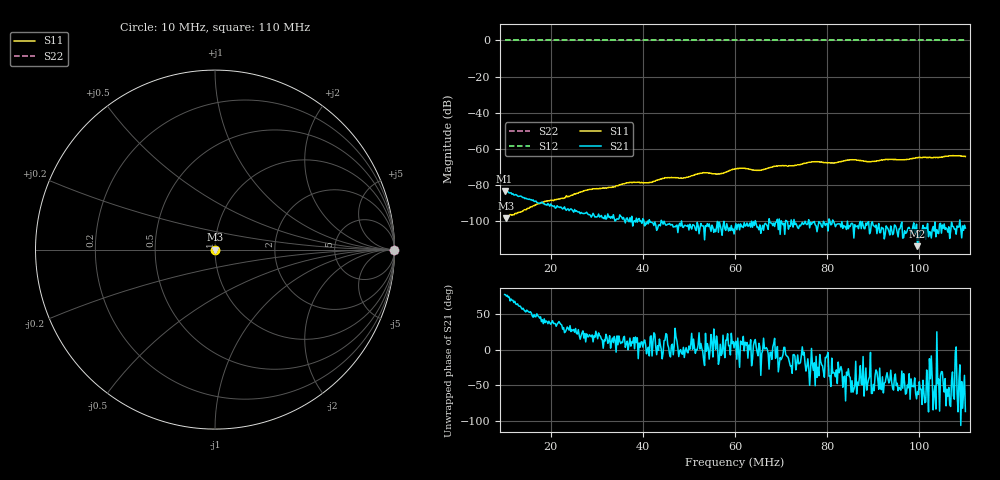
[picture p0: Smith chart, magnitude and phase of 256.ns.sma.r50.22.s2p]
! Anritsu VNA Master:  Model: MS2036C/10/77
! SN:  1601066
! /card0/usr/256.ns.sma.r50.22.s2p
! Existing Calibration Information:
! TYPE:  Current Settings,  Active Cal Settings
! TIME:  12/19/2017 03:53:15 PM,  12/19/2017 03:30:41 PM
! INTERNAL TEMP:  47.3 C,  48.0 C
! # POINTS:  501,  501
! START FREQ:  10.000 MHz,  10.000 MHz
! STOP FREQ:  110.000 MHz,  110.000 MHz
! SOURCE POWER:  High,  High
! IFBW:  100 Hz,  100 Hz
! AVG FACTOR:  1 ,  1
! REF PLANE 1:  0 mm,  0 mm
! REF PLANE 2:  0 mm,  0 mm
! CAL TYPE:  Full S11,  Full S11
! CAL METHOD:  SOLT,  SOLT
! CAL LINE TYPE:  Coax,  Coax
! DUT PORT 1:  N-Conn(F),  N-Conn(F)
! DUT PORT 2:  K-Conn(F),  K-Conn(F)
! CAL STATUS:  OK: Accuracy High,  --
# GHZ S DB R 50.0
! FREQ.GHZ  S11DB  S11A  S21DB  S21A  S12DB  S12A  S22DB  S22A
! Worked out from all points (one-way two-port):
!   501 points, 10 MHz to 110 MHz, reference 50 ohm
!   highest |S21| = -83.20 dB at 10 MHz (marker M1); lowest = -113.7 dB at 99.6 MHz (marker M2)
!   lowest |S11| = -98.2 dB at 10.4 MHz (marker M3), VSWR 1.00, Z = 50 - j0.000337 ohm
!   |S11| at or under -10 dB: start of sweep to end of sweep
!   |S22| runs from 0.0 to 0.0 dB; largest |S21 - S12| = 1
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0.01  -98.00 -18.6  -83.20 77.0  0.00 0.0  0.00 0.0
0.0104  -98.22 -15.9  -83.70 74.7  0.00 0.0  0.00 0.0
0.0268  -83.61 -40.1  -95.56 23.6  0.00 0.0  0.00 0.0
0.0346  -80.36 -40.9  -98.85 6.9  0.00 0.0  0.00 0.0
0.037  -78.57 -38.0  -100.23 7.6  0.00 0.0  0.00 0.0
0.0414  -78.57 -41.2  -99.11 -8.6  0.00 0.0  0.00 0.0
0.0434  -77.01 -47.5  -102.13 -0.7  0.00 0.0  0.00 0.0
0.0452  -75.93 -45.8  -102.00 21.2  0.00 0.0  0.00 0.0
0.049  -75.98 -48.7  -102.30 -10.9  0.00 0.0  0.00 0.0
0.053  -73.19 -51.1  -102.58 -2.6  0.00 0.0  0.00 0.0
0.057  -73.56 -56.2  -104.58 -8.0  0.00 0.0  0.00 0.0
0.06  -71.08 -59.7  -103.84 10.3  0.00 0.0  0.00 0.0
0.0654  -71.84 -58.9  -101.98 3.8  0.00 0.0  0.00 0.0
0.0686  -69.61 -66.8  -102.85 15.8  0.00 0.0  0.00 0.0
0.0724  -69.34 -65.3  -101.67 -33.0  0.00 0.0  0.00 0.0
0.0768  -67.05 -66.9  -100.70 -20.1  0.00 0.0  0.00 0.0
0.0812  -67.77 -66.5  -99.24 -32.9  0.00 0.0  0.00 0.0
0.0854  -65.93 -68.7  -101.06 -43.3  0.00 0.0  0.00 0.0
0.0892  -67.03 -68.6  -106.89 -37.7  0.00 0.0  0.00 0.0
0.0934  -65.74 -74.8  -105.61 -46.5  0.00 0.0  0.00 0.0
0.0996  -64.82 -83.8  -113.74 -58.4  0.00 0.0  0.00 0.0
0.11  -64.15 -88.6  -103.73 -86.3  0.00 0.0  0.00 0.0
